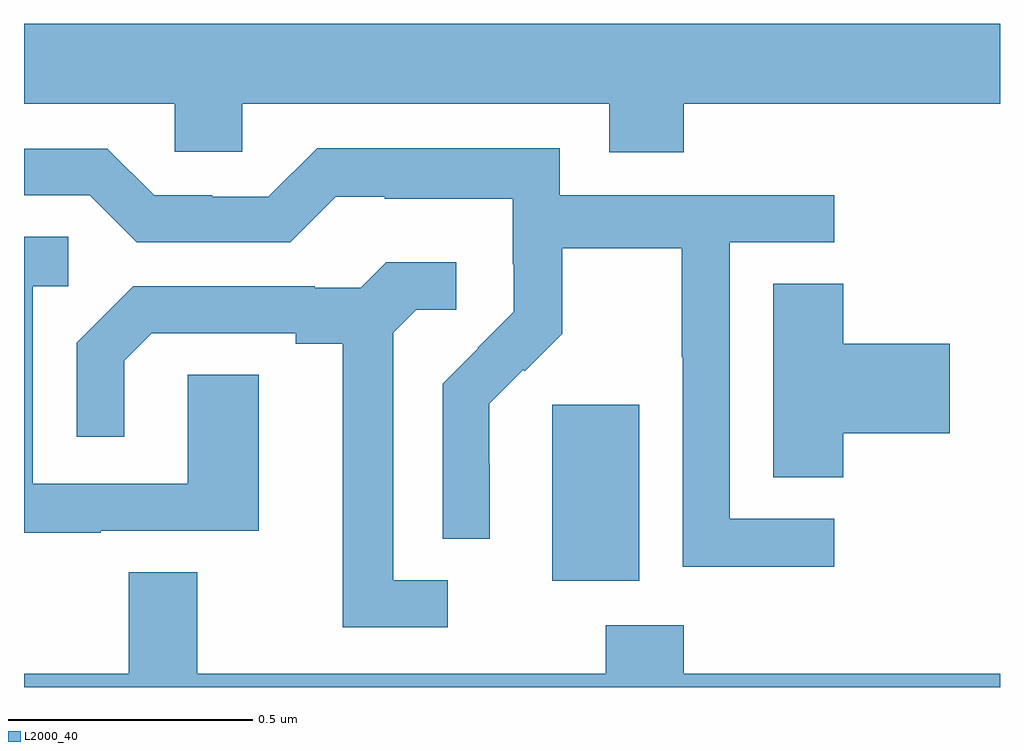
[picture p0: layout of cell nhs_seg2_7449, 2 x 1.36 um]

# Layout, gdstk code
import gdstk
lib = gdstk.Library(unit=1e-6, precision=1e-09)
def R(c, l, rs):  # rectangles x0, y0, x1, y1
    for r in rs: c.add(gdstk.rectangle(r[:2], r[2:], *l))
def P(c, l, *ps):  # polygons
    for p in ps: c.add(gdstk.Polygon(p, *l))
L2000_40 = (2000, 40)

nhs_seg2_7449 = lib.new_cell('nhs_seg2_7449')
R(nhs_seg2_7449, L2000_40, [(205.082,620.018,205.261,620.379)])
P(nhs_seg2_7449, L2000_40, [(205.352,620.996),(206,620.996),(206,621.16),(204,621.16),(204,620.996),(204.309,620.996),(204.309,620.898),(204.447,620.898),(204.447,620.996),(205.199,620.996),(205.199,620.897),(205.352,620.897)],
  [(205.66,620.145),(205.446,620.145),(205.446,620.712),(205.66,620.712),(205.66,620.808),(205.098,620.808),(205.098,620.905),(204.601,620.905),(204.501,620.805),(204.386,620.805),(204.386,620.808),(204.267,620.808),(204.171,620.904),(204,620.904),(204,620.808),(204.135,620.808),(204.231,620.712),(204.546,620.712),(204.639,620.805),(204.739,620.805),(204.739,620.801),(205.002,620.801),(205.002,620.667),(205.004,620.667),(205.004,620.57),(204.93,620.496),(204.931,620.495),(204.858,620.422),(204.858,620.104),(204.954,620.104),(204.954,620.258),(204.953,620.258),(204.953,620.381),(205.023,620.451),(205.026,620.448),(205.103,620.525),(205.103,620.7),(205.348,620.7),(205.348,620.476),(205.35,620.476),(205.35,620.047),(205.66,620.047)],
  [(204.157,620.121),(204.481,620.121),(204.481,620.441),(204.336,620.441),(204.336,620.217),(204.018,620.217),(204.018,620.622),(204.091,620.622),(204.091,620.723),(204,620.723),(204,620.117),(204.157,620.117)],
  [(204.868,620.019),(204.757,620.019),(204.757,620.527),(204.804,620.574),(204.886,620.574),(204.886,620.671),(204.742,620.671),(204.69,620.619),(204.596,620.619),(204.596,620.622),(204.224,620.622),(204.108,620.506),(204.108,620.313),(204.205,620.313),(204.205,620.469),(204.262,620.526),(204.557,620.526),(204.557,620.504),(204.653,620.504),(204.653,619.923),(204.868,619.923)],
  [(205.679,620.321),(205.897,620.321),(205.897,620.504),(205.679,620.504),(205.679,620.627),(205.535,620.627),(205.535,620.23),(205.679,620.23)],
  [(206,619.828),(205.352,619.828),(205.352,619.927),(205.192,619.927),(205.192,619.828),(204.355,619.828),(204.355,620.036),(204.215,620.036),(204.215,619.828),(204,619.828),(204,619.8),(206,619.8)])

lib.write_gds('nhs_seg2_7449.gds')
